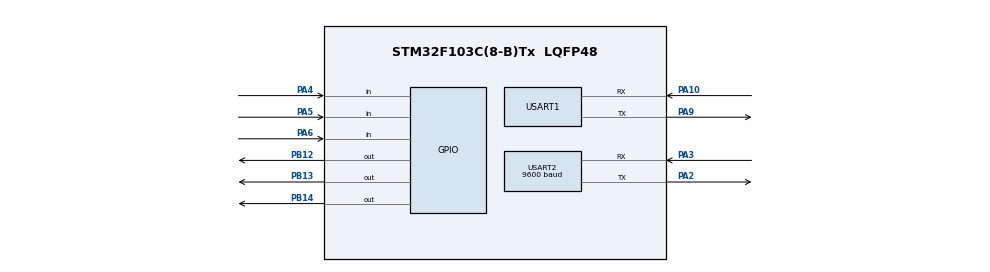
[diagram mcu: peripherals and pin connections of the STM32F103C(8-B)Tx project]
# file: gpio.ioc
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Mcu.Family=STM32F1
Mcu.Name=STM32F103C(8-B)Tx
Mcu.Package=LQFP48
NVIC.PriorityGroup=NVIC_PRIORITYGROUP_4
NVIC.USART1_IRQn=true\:0\:0\:false\:false\:true\:true\:true\:true
NVIC.USART2_IRQn=true\:0\:0\:false\:false\:true\:true\:true\:true
PA10.Mode=Asynchronous
PA10.Signal=USART1_RX
PA13.Mode=Serial_Wire
PA13.Signal=SYS_JTMS-SWDIO
PA14.Mode=Serial_Wire
PA14.Signal=SYS_JTCK-SWCLK
PA2.Mode=Asynchronous
PA2.Signal=USART2_TX
PA3.Mode=Asynchronous
PA3.Signal=USART2_RX
PA4.GPIO_PuPd=GPIO_PULLUP
PA4.Signal=GPIO_Input
PA5.GPIO_PuPd=GPIO_PULLUP
PA5.Signal=GPIO_Input
PA6.GPIO_PuPd=GPIO_PULLUP
PA6.Signal=GPIO_Input
PA9.Mode=Asynchronous
PA9.Signal=USART1_TX
PB12.Signal=GPIO_Output
PB13.Signal=GPIO_Output
PB14.Signal=GPIO_Output
PD0-OSC_IN.Mode=HSE-External-Oscillator
PD0-OSC_IN.Signal=RCC_OSC_IN
PD1-OSC_OUT.Mode=HSE-External-Oscillator
PD1-OSC_OUT.Signal=RCC_OSC_OUT
ProjectManager.HeapSize=0x200
ProjectManager.StackSize=0x400
ProjectManager.TargetToolchain=MDK-ARM V5.32
RCC.APB1Freq_Value=8000000
RCC.APB2Freq_Value=8000000
USART1.VirtualMode=VM_ASYNC
USART2.BaudRate=9600
USART2.VirtualMode=VM_ASYNC
board=custom

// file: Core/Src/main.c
/* USER CODE BEGIN Header */

/**

  ******************************************************************************

  * @file           : main.c

  * @brief          : Main program body

  ******************************************************************************

  * @attention

  *

  * Copyright (c) 2026 STMicroelectronics.

  * All rights reserved.

  *

  * This software is licensed under terms that can be found in the LICENSE file

  * in the root directory of this software component.

  * If no LICENSE file comes with this software, it is provided AS-IS.

  *

  ******************************************************************************

  */

/* USER CODE END Header */

#include "main.h"

/* USER CODE BEGIN Includes */

#include <stdio.h>

#include <string.h>

/* USER CODE END Includes */

UART_HandleTypeDef huart1;

UART_HandleTypeDef huart2;

/* USER CODE BEGIN PV */

uint8_t btn1_last_state = 1;

uint8_t btn2_last_state = 1;

uint8_t btn3_last_state = 1;

uint8_t btn1_current_state = 1;

uint8_t btn2_current_state = 1;

uint8_t btn3_current_state = 1;

// Biến cho LoRa (Giả sử bạn cắm LoRa vào huart2. Nếu cắm huart1 thì đổi lại nhé)

uint8_t rx_data;

char rx_buffer[50];

uint8_t rx_index = 0;

/* USER CODE END PV */

void SystemClock_Config(void);

static void MX_GPIO_Init(void);

static void MX_USART1_UART_Init(void);

static void MX_USART2_UART_Init(void);

int main(void)

{

  /* MCU Configuration--------------------------------------------------------*/

  /* Reset of all peripherals, Initializes the Flash interface and the Systick. */

  HAL_Init();

  /* Configure the system clock */

  SystemClock_Config();

  /* Initialize all configured peripherals */

  MX_GPIO_Init();

  MX_USART1_UART_Init();

  MX_USART2_UART_Init();

  /* USER CODE BEGIN 2 */

  HAL_UART_Receive_IT(&huart2, &rx_data, 1);

  /* USER CODE END 2 */

  /* Infinite loop */

  while (1)
  {

    /* USER CODE BEGIN 3 */

char lora_msg[32];

    // ---------------- ĐIỀU KHIỂN RELAY 1 (PA4 -> PB12) ----------------

    btn1_current_state = HAL_GPIO_ReadPin(GPIOA, GPIO_PIN_4);

    if (btn1_current_state == 0 && btn1_last_state == 1)

    {

      HAL_Delay(20);

      if (HAL_GPIO_ReadPin(GPIOA, GPIO_PIN_4) == 0)

      {

        HAL_GPIO_TogglePin(GPIOB, GPIO_PIN_12);

        // Lấy trạng thái sau khi Toggle

        uint8_t state = HAL_GPIO_ReadPin(GPIOB, GPIO_PIN_12);

        // Gửi qua LoRa báo cho ESP32

        sprintf(lora_msg, "UPDATE_N3_M1_%d\n", state == GPIO_PIN_SET ? 1 : 0);

        HAL_UART_Transmit(&huart2, (uint8_t*)lora_msg, strlen(lora_msg), 100);

      }

    }

    btn1_last_state = btn1_current_state;

    // ---------------- ĐIỀU KHIỂN RELAY 2 (PA5 -> PB13) ----------------

    btn2_current_state = HAL_GPIO_ReadPin(GPIOA, GPIO_PIN_5);

    if (btn2_current_state == 0 && btn2_last_state == 1)

    {

      HAL_Delay(20);

      if (HAL_GPIO_ReadPin(GPIOA, GPIO_PIN_5) == 0)

      {

        HAL_GPIO_TogglePin(GPIOB, GPIO_PIN_13);

        uint8_t state = HAL_GPIO_ReadPin(GPIOB, GPIO_PIN_13);

        sprintf(lora_msg, "UPDATE_N3_M2_%d\n", state == GPIO_PIN_SET ? 1 : 0);

        HAL_UART_Transmit(&huart2, (uint8_t*)lora_msg, strlen(lora_msg), 100);

      }

    }

    btn2_last_state = btn2_current_state;

    // ---------------- ĐIỀU KHIỂN RELAY 3 (PA6 -> PB14) ----------------

    btn3_current_state = HAL_GPIO_ReadPin(GPIOA, GPIO_PIN_6);

    if (btn3_current_state == 0 && btn3_last_state == 1)

    {

      HAL_Delay(20);

      if (HAL_GPIO_ReadPin(GPIOA, GPIO_PIN_6) == 0)

      {

        HAL_GPIO_TogglePin(GPIOB, GPIO_PIN_14);

        uint8_t state = HAL_GPIO_ReadPin(GPIOB, GPIO_PIN_14);

        sprintf(lora_msg, "UPDATE_N3_M3_%d\n", state == GPIO_PIN_SET ? 1 : 0);

        HAL_UART_Transmit(&huart2, (uint8_t*)lora_msg, strlen(lora_msg), 100);

      }

    }

    btn3_last_state = btn3_current_state;

    HAL_Delay(10); // Tránh trôi vòng lặp quá nhanh

  }

  /* USER CODE END 3 */

}

void SystemClock_Config(void)

{

  RCC_OscInitTypeDef RCC_OscInitStruct = {0};

  RCC_ClkInitTypeDef RCC_ClkInitStruct = {0};

  /** Initializes the RCC Oscillators according to the specified parameters

  * in the RCC_OscInitTypeDef structure.

  */

  RCC_OscInitStruct.OscillatorType = RCC_OSCILLATORTYPE_HSI;

  RCC_OscInitStruct.HSIState = RCC_HSI_ON;

  RCC_OscInitStruct.HSICalibrationValue = RCC_HSICALIBRATION_DEFAULT;

  RCC_OscInitStruct.PLL.PLLState = RCC_PLL_NONE;

  if (HAL_RCC_OscConfig(&RCC_OscInitStruct) != HAL_OK)

  {

    Error_Handler();

  }

  /** Initializes the CPU, AHB and APB buses clocks

  */

  RCC_ClkInitStruct.ClockType = RCC_CLOCKTYPE_HCLK|RCC_CLOCKTYPE_SYSCLK

                              |RCC_CLOCKTYPE_PCLK1|RCC_CLOCKTYPE_PCLK2;

  RCC_ClkInitStruct.SYSCLKSource = RCC_SYSCLKSOURCE_HSI;

  RCC_ClkInitStruct.AHBCLKDivider = RCC_SYSCLK_DIV1;

  RCC_ClkInitStruct.APB1CLKDivider = RCC_HCLK_DIV1;

  RCC_ClkInitStruct.APB2CLKDivider = RCC_HCLK_DIV1;

  if (HAL_RCC_ClockConfig(&RCC_ClkInitStruct, FLASH_LATENCY_0) != HAL_OK)

  {

    Error_Handler();

  }

}

static void MX_USART1_UART_Init(void)

{

  huart1.Instance = USART1;

  huart1.Init.BaudRate = 115200;

  huart1.Init.WordLength = UART_WORDLENGTH_8B;

  huart1.Init.StopBits = UART_STOPBITS_1;

  huart1.Init.Parity = UART_PARITY_NONE;

  huart1.Init.Mode = UART_MODE_TX_RX;

  huart1.Init.HwFlowCtl = UART_HWCONTROL_NONE;

  huart1.Init.OverSampling = UART_OVERSAMPLING_16;

  if (HAL_UART_Init(&huart1) != HAL_OK)

  {

    Error_Handler();

  }

}

static void MX_USART2_UART_Init(void)

{

  huart2.Instance = USART2;

  huart2.Init.BaudRate = 9600;

  huart2.Init.WordLength = UART_WORDLENGTH_8B;

  huart2.Init.StopBits = UART_STOPBITS_1;

  huart2.Init.Parity = UART_PARITY_NONE;

  huart2.Init.Mode = UART_MODE_TX_RX;

  huart2.Init.HwFlowCtl = UART_HWCONTROL_NONE;

  huart2.Init.OverSampling = UART_OVERSAMPLING_16;

  if (HAL_UART_Init(&huart2) != HAL_OK)

  {

    Error_Handler();

  }

}

static void MX_GPIO_Init(void)

{

  GPIO_InitTypeDef GPIO_InitStruct = {0};

  /* GPIO Ports Clock Enable */

  __HAL_RCC_GPIOD_CLK_ENABLE();

  __HAL_RCC_GPIOA_CLK_ENABLE();

  __HAL_RCC_GPIOB_CLK_ENABLE();

  /*Configure GPIO pin Output Level */

  HAL_GPIO_WritePin(GPIOB, GPIO_PIN_12|GPIO_PIN_13|GPIO_PIN_14, GPIO_PIN_RESET);

  /*Configure GPIO pins : PA4 PA5 PA6 */

  GPIO_InitStruct.Pin = GPIO_PIN_4|GPIO_PIN_5|GPIO_PIN_6;

  GPIO_InitStruct.Mode = GPIO_MODE_INPUT;

  GPIO_InitStruct.Pull = GPIO_PULLUP;

  HAL_GPIO_Init(GPIOA, &GPIO_InitStruct);

  /*Configure GPIO pins : PB12 PB13 PB14 */

  GPIO_InitStruct.Pin = GPIO_PIN_12|GPIO_PIN_13|GPIO_PIN_14;

  GPIO_InitStruct.Mode = GPIO_MODE_OUTPUT_PP;

  GPIO_InitStruct.Pull = GPIO_NOPULL;

  GPIO_InitStruct.Speed = GPIO_SPEED_FREQ_LOW;

  HAL_GPIO_Init(GPIOB, &GPIO_InitStruct);

}

/* USER CODE BEGIN 4 */

// Hàm ngắt nhận dữ liệu từ ESP32 (Khi App điều khiển)

void HAL_UART_RxCpltCallback(UART_HandleTypeDef *huart)

{

    if (huart->Instance == USART2)

    {

        if (rx_data != '\n') {

            if (rx_index < 49) {

                rx_buffer[rx_index++] = rx_data;

            }

        } else {

            rx_buffer[rx_index] = '\0'; // Ket thuc

            if (strncmp(rx_buffer, "SET_N3_M1_ON", 12) == 0) {

                HAL_GPIO_WritePin(GPIOB, GPIO_PIN_12, GPIO_PIN_SET);

            } else if (strncmp(rx_buffer, "SET_N3_M1_OFF", 13) == 0) {

                HAL_GPIO_WritePin(GPIOB, GPIO_PIN_12, GPIO_PIN_RESET);

            }

            else if (strncmp(rx_buffer, "SET_N3_M2_ON", 12) == 0) {

                HAL_GPIO_WritePin(GPIOB, GPIO_PIN_13, GPIO_PIN_SET);

            } else if (strncmp(rx_buffer, "SET_N3_M2_OFF", 13) == 0) {

                HAL_GPIO_WritePin(GPIOB, GPIO_PIN_13, GPIO_PIN_RESET);

            }

            else if (strncmp(rx_buffer, "SET_N3_M3_ON", 12) == 0) {

                HAL_GPIO_WritePin(GPIOB, GPIO_PIN_14, GPIO_PIN_SET);

            } else if (strncmp(rx_buffer, "SET_N3_M3_OFF", 13) == 0) {

                HAL_GPIO_WritePin(GPIOB, GPIO_PIN_14, GPIO_PIN_RESET);

            }

            rx_index = 0; // Reset buffer

        }

        HAL_UART_Receive_IT(&huart2, &rx_data, 1);

    }

}

// Khoi phuc loi ORE (Overrun Error) thuong xuyen xay ra khi ESP32 va STM32 gui cung luc

void HAL_UART_ErrorCallback(UART_HandleTypeDef *huart)

{

    if (huart->Instance == USART2) {

        if (huart->ErrorCode & HAL_UART_ERROR_ORE) {

            __HAL_UART_CLEAR_OREFLAG(huart);

            HAL_UART_Receive_IT(&huart2, &rx_data, 1);

        }

    }

}

/* USER CODE END 4 */

void Error_Handler(void)

{

  __disable_irq();
  while (1)
  {
  }

}
